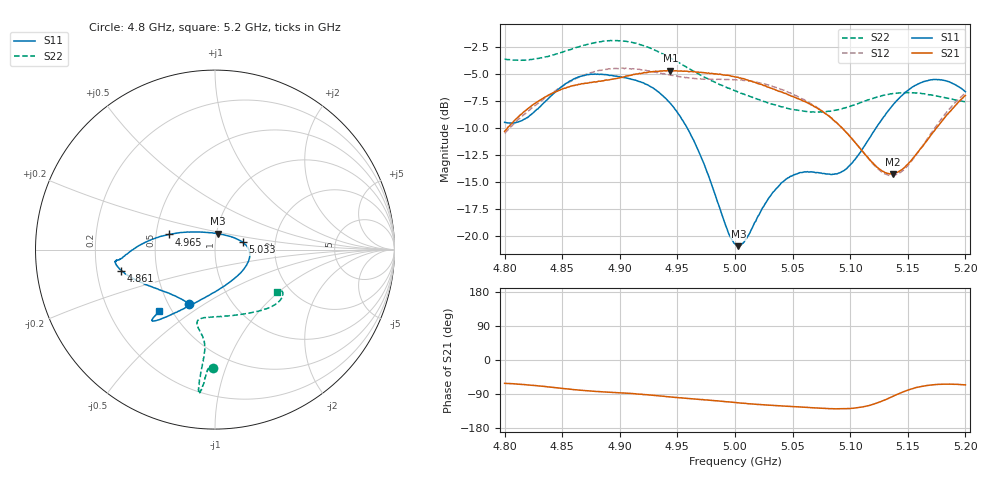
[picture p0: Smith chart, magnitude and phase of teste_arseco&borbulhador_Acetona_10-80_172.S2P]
! Network Analyzer HP8722D
! Hewlett-Packard
! Data name: Linha & Wilkinson
! Saver's name: Rodrigo Anjos
! Comments: Teste da utilização de aquisição
! continua pelo VNA HP8722D
! Time and date: 17/4/2025 15:47
!  Frequency  S11  S21  S12  S22
# HZ  S  MA R 50
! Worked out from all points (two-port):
!   401 points, 4.8 GHz to 5.2 GHz, reference 50 ohm
!   highest |S21| = -4.71 dB at 4.944 GHz (marker M1); lowest = -14.3 dB at 5.137 GHz (marker M2)
!   |S21| within 3 dB of the highest: 4.827 GHz to 5.063 GHz (236.4 MHz wide, 4.78 % of centre); 5.193304 GHz to end of sweep
!   lowest |S11| = -21.0 dB at 5.003 GHz (marker M3), VSWR 1.20, Z = 50.6 + j9.01 ohm
!   |S11| at or under -10 dB: 4.958 GHz to 5.122 GHz (164.1 MHz wide, 3.26 % of centre)
!   |S22| runs from -8.6 to -1.9 dB; largest |S21 - S12| = 0.87
!   S11 on the Smith chart (normalised r, x): 4.8 GHz: 0.64, -0.43; 4.861 GHz: 0.31, -0.10; 4.965 GHz: 0.58, +0.11; 5.033 GHz: 1.36, +0.12; 5.2 GHz: 0.43, -0.37
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4.8e9  0.3349 -115.3  0.3043 -61.6  0.2981 -175.8  0.6579 -90.8
4.819e9  0.3511 -135.4  0.3829 -65.3  0.3714 -175.0  0.6526 -92.4
4.861e9  0.5347 -167.3  0.497 -78.4  0.5307 -178.4  0.7386 -94.7
4.867e9  0.5488 -169.6  0.5061 -80.1  0.5478 -179.4  0.7569 -95.0
4.899e9  0.5453 -173.8  0.5374 -86.5  0.5942 174.1  0.7985 -96.4
4.934e9  0.4613 -179.6  0.5771 -94.7  0.5693 170.8  0.7072 -96.7
4.944e9  0.4094 175.7  0.5815 -97.3  0.5539 170.8  0.6656 -96.4
4.965e9  0.2702 161.8  0.5751 -103.2  0.5342 172.9  0.5746 -95.9
4.994e9  0.104 113.8  0.553 -110.3  0.5289 174.9  0.4821 -98.5
5e9  0.09174 92.5  0.5439 -112.1  0.5278 175.1  0.4689 -99.9
5.003e9  0.08944 80.8  0.5407 -113.1  0.5267 175.1  0.4613 -100.6
5.01e9  0.09717 56.6  0.5273 -114.7  0.5222 174.8  0.4477 -101.9
5.033e9  0.1592 15.2  0.4782 -119.8  0.49 173.7  0.4061 -103.6
5.049e9  0.1888 -0.3  0.4428 -122.8  0.4551 173.2  0.3842 -99.3
5.067e9  0.1974 -19.6  0.402 -125.9  0.4052 172.8  0.374 -89.4
5.096e9  0.2031 -70.1  0.3032 -128.5  0.3036 174.5  0.3917 -66.7
5.121e9  0.3071 -109.0  0.2131 -115.9  0.2114 -170.7  0.4348 -49.6
5.134e9  0.3846 -119.3  0.1934 -100.1  0.19 -153.1  0.4523 -43.2
5.137e9  0.4021 -121.0  0.193 -96.0  0.19 -148.4  0.4552 -41.8
5.15e9  0.4703 -126.6  0.214 -79.6  0.211 -129.5  0.46 -37.2
5.17e9  0.527 -130.9  0.2917 -66.1  0.2974 -112.3  0.4491 -32.7
5.2e9  0.4646 -132.1  0.446 -65.7  0.4573 -107.9  0.416 -34.2
